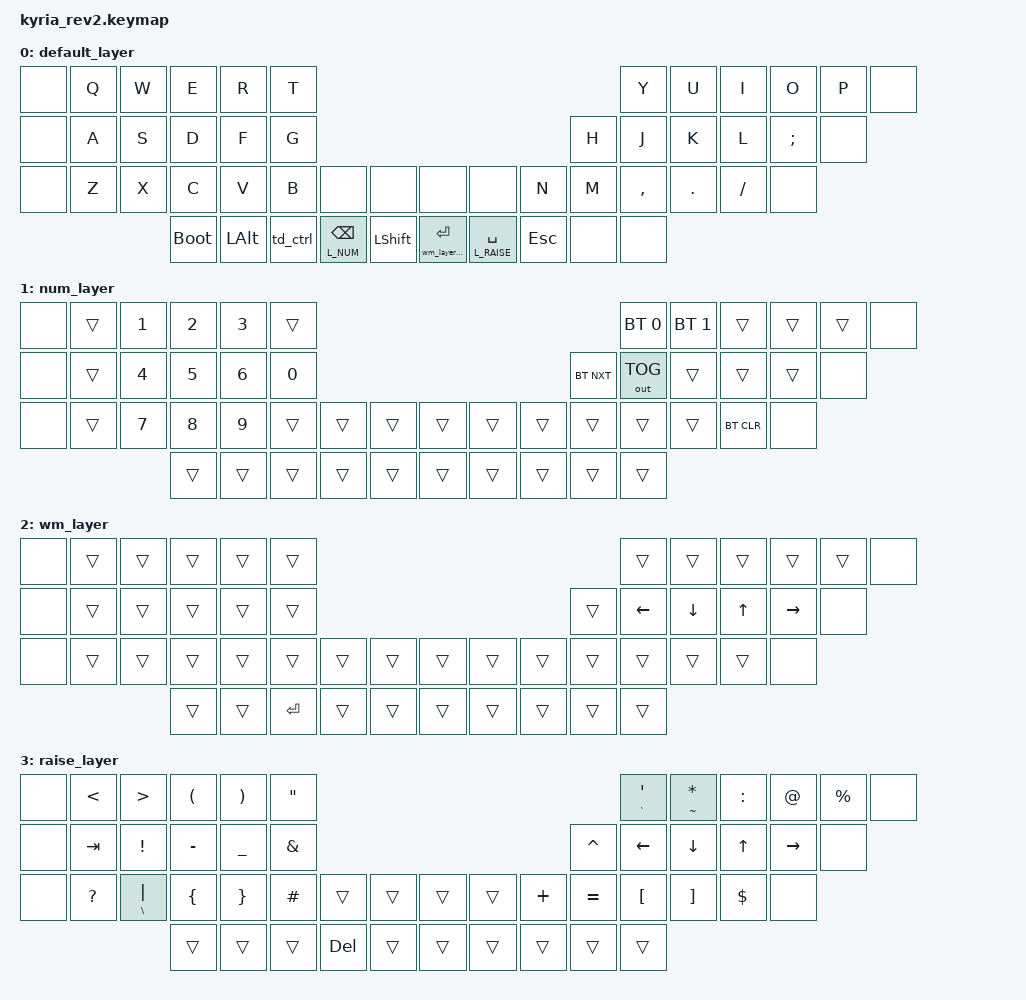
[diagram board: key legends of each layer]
#include <behaviors.dtsi>
#include <dt-bindings/zmk/keys.h>
#include <dt-bindings/zmk/bt.h>
#include <dt-bindings/zmk/outputs.h>
#include <dt-bindings/zmk/ext_power.h>

// layer index macros
#define L_DEFAULT 0
#define L_NUM 1
#define L_WM 2
#define L_RAISE 3

// / { chosen { zmk,matrix_transform=&five_column_transform; }; };

/ {
    macros {
        wm_layer_lgui: wm_layer_lgui {
            label = "ZM_wm_layer_lgui";
            compatible = "zmk,behavior-macro";
            #binding-cells = <0>;
            wait-ms = <0>;
            bindings
            = <&macro_press &mo L_WM &kp LGUI>
            , <&macro_pause_for_release>
            , <&macro_release &mo L_WM &kp LGUI>;
        };
    };
    behaviors {
        td_ctrl: tap_dance_0 {
            compatible = "zmk,behavior-tap-dance";
            label = "TD_LCTRL";
            #binding-cells = <0>;
            tapping-term-ms = <200>;
            bindings = <&kp LCTRL>, <&kp LS(LCTRL)>;
        };  
        ht_to: kp_to_hold_tap {
            compatible = "zmk,behavior-hold-tap";
            label = "TOLAYER_HOLD_TAP";
            flavor = "hold-preferred";
            tapping-term-ms = <200>;
            quick-tap-ms = <125>;
            #binding-cells = <2>;
            bindings = <&to>, <&kp>;
            retro-tap;
        };
        ht_wmlgui: wm_lgui_macro_hold_tap {
            compatible = "zmk,behavior-hold-tap";
            label = "WM_LGUI_HOLD_TAP";
            flavor = "hold-preferred";
            tapping-term-ms = <200>;
            quick-tap-ms = <125>;
            #binding-cells = <2>;
            bindings = <&wm_layer_lgui>, <&kp>;
            retro-tap;
        };
        bspc_ht_mo: kp_mo_hold_tap {
            compatible = "zmk,behavior-hold-tap";
            label = "MOLAYER_HOLD_TAP";
            flavor = "hold-preferred";
            tapping-term-ms = <200>;
            quick-tap-ms = <200>;
            #binding-cells = <2>;
            bindings = <&mo>, <&kp>;
            retro-tap;
        };
        spc_ht_mo: kp_mo_hold_tap2 {
            compatible = "zmk,behavior-hold-tap";
            label = "MOLAYER_HOLD_TAP";
            flavor = "tap-preferred";
            tapping-term-ms = <200>;
            quick-tap-ms = <200>;
            #binding-cells = <2>;
            bindings = <&mo>, <&kp>;
            retro-tap;
        };
    };
	keymap {
		compatible = "zmk,keymap";

		default_layer {
// ---------------------------------------------------------------------------------------------------------------------------------
// |  Q  |  W  |  E   |  R   |  T   |                                          |  Y   |  U    |  I    |  O   |   P   |
// |  A  |  S  |  D   |  F   |  G   |                                          |  H   |  J    |  K    |  L   |   ;   |
// |  Z  |  X  |  C   |  V   |  B   | esc | shft |               | WIN |  ___  |  N   |  M    |  ,    |  .   |   /   |
//                     | ___  |     |  ctrl  |  BSPC  | layer 2 |    |  RET  |  SPC  | MOD  | ___  | ___ |
			bindings = <
    &none &kp Q &kp W &kp E &kp R &kp T                                                &kp Y &kp U  &kp I     &kp O   &kp P        &none
    &none &kp A &kp S &kp D &kp F &kp G                                                &kp H &kp J  &kp K     &kp L   &kp SEMI     &none
    &none &kp Z &kp X &kp C &kp V &kp B &none &none                       &none &none &kp N &kp M  &kp COMMA &kp DOT &kp FSLH    &none 
	               	 &bootloader &kp LALT &td_ctrl &bspc_ht_mo L_NUM BSPC &kp LSHFT        &ht_wmlgui 0 RET &spc_ht_mo L_RAISE SPACE  &kp ESC &none &none
			>;
	    };

		num_layer {
			bindings = <
	  	    &none &trans &kp N1 &kp N2 &kp N3 &trans                                 &bt BT_SEL 0 &bt BT_SEL 1 &trans &trans &trans &none
	  	    &none &trans &kp N4 &kp N5 &kp N6 &kp N0                                 &bt BT_NXT &out OUT_TOG &trans &trans &trans &none
	  	    &none &trans &kp N7 &kp N8 &kp N9 &trans &trans &trans     &trans &trans &trans &trans &trans &trans &bt BT_CLR &none
	  	                        &trans &trans &trans &trans &trans     &trans &trans &trans &trans &trans
			>;
	  	};

		wm_layer {
			bindings = <
	  	    &none &trans &trans &trans &trans &trans                                 &trans &trans &trans &trans &trans &none
	  	    &none &trans &trans &trans &trans &trans                                 &trans &kp LEFT &kp DOWN &kp UP &kp RIGHT &none
	  	    &none &trans &trans &trans &trans &trans &trans &trans     &trans &trans &trans &trans &trans &trans &trans &none
	  	                        &trans &trans &kp RET &trans &trans     &trans &trans &trans &trans &trans
			>;
	  	};

		raise_layer {
			bindings = <
   &none &kp LT  &kp GT  &kp LPAR  &kp RPAR  &kp DQT                                             &mt GRAVE SQT &mt TILDE STAR  &kp COLON  &kp AT  &kp PRCNT      &none 
   &none &kp TAB  &kp EXCL  &kp MINUS  &kp UNDER  &kp AMPS                                     &kp CARET  &kp LEFT  &kp DOWN &kp UP &kp RIGHT          &none
   &none &kp QMARK  &mt BSLH PIPE  &kp LBRC  &kp RBRC  &kp HASH  &trans &trans                &trans  &trans &kp PLUS  &kp EQUAL &kp LBKT &kp RBKT &kp DLLR      &none
	                                   &trans &trans  &trans  &kp DEL  &trans         &trans   &trans   &trans &trans &trans
			>;

		  };
	};
};
&pro_micro_i2c {
    status = "okay";

    oled: ssd1306@3c {
        compatible = "solomon,ssd1306fb";
        reg = <0x3c>;
        label = "DISPLAY";
        width = <128>;
        height = <32>;
        segment-offset = <0>;
        page-offset = <0>;
        display-offset = <0>;
        multiplex-ratio = <31>;
        segment-remap;
        com-invdir;
        com-sequential;
        prechargep = <0x22>;
    };
};
